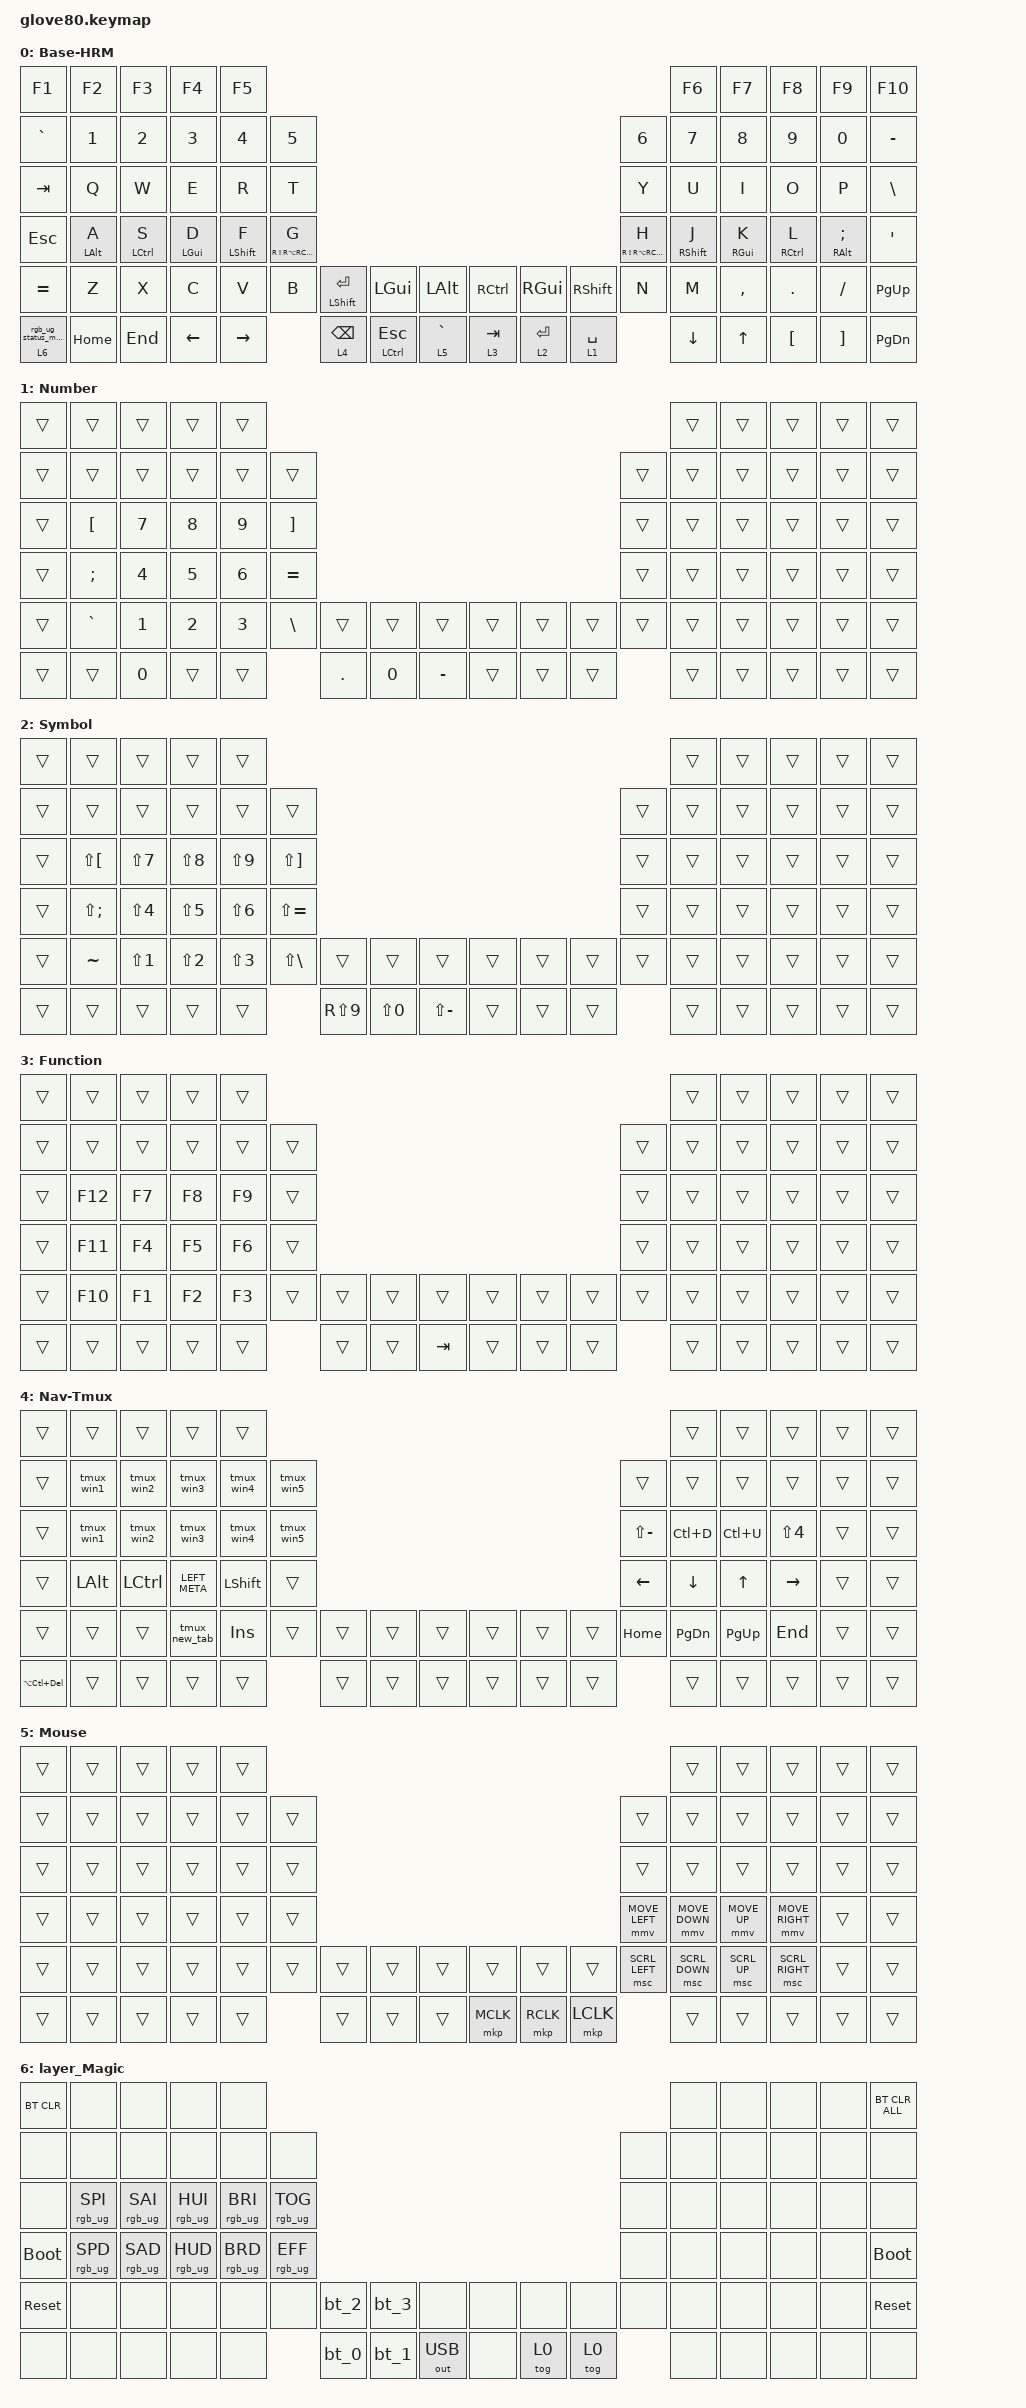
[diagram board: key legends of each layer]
/*
 * Copyright (c) 2020 The ZMK Contributors
 * Copyright (c) 2025 Innaworks Development Limited, trading as MoErgo
 *
 * SPDX-License-Identifier: MIT
 */
/* THIS FILE WAS GENERATED BY GLOVE80 LAYOUT EDITOR
 *
 * This file was generated automatically. You may or may not want to
 * edit it directly.
 */
/* Include all behavior includes needed */

#include <behaviors.dtsi>
#include <dt-bindings/zmk/bt.h>
#include <dt-bindings/zmk/keys.h>
#include <dt-bindings/zmk/outputs.h>
#include <dt-bindings/zmk/pointing.h>
#include <dt-bindings/zmk/rgb.h>

/* On demand includes */
/* Helper Macros, based on https://github.com/urob/zmk-helpers/ */

#pragma once

#define ZMK_HELPER_STRINGIFY(x) #x

// Preprocessor mechanism to overload macros, cf. https://stackoverflow.com/a/27051616/6114651

#define VARGS_(_10, _9, _8, _7, _6, _5, _4, _3, _2, _1, N, ...) N
#define VARGS(...) VARGS_(__VA_ARGS__, 10, 9, 8, 7, 6, 5, 4, 3, 2, 1, 0)
#define CONCAT_(a, b) a##b
#define CONCAT(a, b) CONCAT_(a, b)

#define ZMK_BEHAVIOR_CORE_tap_dance  \
    compatible = "zmk,behavior-tap-dance"; \
    #binding-cells = <0>

#define ZMK_BEHAVIOR(name, type, ...) \
    name: name { \
        ZMK_BEHAVIOR_CORE_ ## type; \
        __VA_ARGS__ \
    };
#define ZMK_TAP_DANCE(name, ...) \
    ZMK_BEHAVIOR(name, tap_dance, __VA_ARGS__)
#define ZMK_TD_LAYER(name, layer) \
    ZMK_TAP_DANCE(name, \
        tapping-term-ms = <200>; \
        bindings = <&mo layer>, <&to layer>; \
)

/ {
    macros {
        rgb_ug_status_macro: rgb_ug_status_macro {
            label = "RGB_UG_STATUS";
            compatible = "zmk,behavior-macro";
            #binding-cells = <0>;
            bindings = <&rgb_ug RGB_STATUS>;
        };
    };
};

/ {
    #ifdef BT_DISC_CMD

    behaviors {
        bt_0: bt_0 {
            compatible = "zmk,behavior-tap-dance";
            label = "BT_0";
            #binding-cells = <0>;
            tapping-term-ms = <200>;
            bindings = <&bt_select_0>, <&bt BT_DISC 0>;
        };

        bt_1: bt_1 {
            compatible = "zmk,behavior-tap-dance";
            label = "BT_1";
            #binding-cells = <0>;
            tapping-term-ms = <200>;
            bindings = <&bt_select_1>, <&bt BT_DISC 1>;
        };

        bt_2: bt_2 {
            compatible = "zmk,behavior-tap-dance";
            label = "BT_2";
            #binding-cells = <0>;
            tapping-term-ms = <200>;
            bindings = <&bt_select_2>, <&bt BT_DISC 2>;
        };

        bt_3: bt_3 {
            compatible = "zmk,behavior-tap-dance";
            label = "BT_3";
            #binding-cells = <0>;
            tapping-term-ms = <200>;
            bindings = <&bt_select_3>, <&bt BT_DISC 3>;
        };
    };

    macros {
        bt_select_0: bt_select_0 {
            label = "BT_SELECT_0";
            compatible = "zmk,behavior-macro";
            #binding-cells = <0>;
            bindings = <&out OUT_BLE &bt BT_SEL 0>;
        };

        bt_select_1: bt_select_1 {
            label = "BT_SELECT_1";
            compatible = "zmk,behavior-macro";
            #binding-cells = <0>;
            bindings = <&out OUT_BLE &bt BT_SEL 1>;
        };

        bt_select_2: bt_select_2 {
            label = "BT_SELECT_2";
            compatible = "zmk,behavior-macro";
            #binding-cells = <0>;
            bindings = <&out OUT_BLE &bt BT_SEL 2>;
        };

        bt_select_3: bt_select_3 {
            label = "BT_SELECT_3";
            compatible = "zmk,behavior-macro";
            #binding-cells = <0>;
            bindings = <&out OUT_BLE &bt BT_SEL 3>;
        };
    };

    #else

    macros {
        bt_0: bt_0 {
            label = "BT_0";
            compatible = "zmk,behavior-macro";
            #binding-cells = <0>;
            bindings = <&out OUT_BLE &bt BT_SEL 0>;
        };

        bt_1: bt_1 {
            label = "BT_1";
            compatible = "zmk,behavior-macro";
            #binding-cells = <0>;
            bindings = <&out OUT_BLE &bt BT_SEL 1>;
        };

        bt_2: bt_2 {
            label = "BT_2";
            compatible = "zmk,behavior-macro";
            #binding-cells = <0>;
            bindings = <&out OUT_BLE &bt BT_SEL 2>;
        };

        bt_3: bt_3 {
            label = "BT_3";
            compatible = "zmk,behavior-macro";
            #binding-cells = <0>;
            bindings = <&out OUT_BLE &bt BT_SEL 3>;
        };
    };

    #endif
};

/ {
    behaviors {
        magic: magic {
            compatible = "zmk,behavior-hold-tap";
            label = "MAGIC_HOLD_TAP";
            #binding-cells = <2>;
            flavor = "tap-preferred";
            tapping-term-ms = <200>;
            bindings = <&mo>, <&rgb_ug_status_macro>;
        };
    };
};

/* #define for key positions */

#define POS_LH_T1 52
#define POS_LH_T2 53
#define POS_LH_T3 54
#define POS_LH_T4 69
#define POS_LH_T5 70
#define POS_LH_T6 71
#define POS_LH_C1R2 15
#define POS_LH_C1R3 27
#define POS_LH_C1R4 39
#define POS_LH_C1R5 51
#define POS_LH_C2R1 4
#define POS_LH_C2R2 14
#define POS_LH_C2R3 26
#define POS_LH_C2R4 38
#define POS_LH_C2R5 50
#define POS_LH_C2R6 68
#define POS_LH_C3R1 3
#define POS_LH_C3R2 13
#define POS_LH_C3R3 25
#define POS_LH_C3R4 37
#define POS_LH_C3R5 49
#define POS_LH_C3R6 67
#define POS_LH_C4R1 2
#define POS_LH_C4R2 12
#define POS_LH_C4R3 24
#define POS_LH_C4R4 36
#define POS_LH_C4R5 48
#define POS_LH_C4R6 66
#define POS_LH_C5R1 1
#define POS_LH_C5R2 11
#define POS_LH_C5R3 23
#define POS_LH_C5R4 35
#define POS_LH_C5R5 47
#define POS_LH_C5R6 65
#define POS_LH_C6R1 0
#define POS_LH_C6R2 10
#define POS_LH_C6R3 22
#define POS_LH_C6R4 34
#define POS_LH_C6R5 46
#define POS_LH_C6R6 64
#define POS_RH_T1 57
#define POS_RH_T2 56
#define POS_RH_T3 55
#define POS_RH_T4 74
#define POS_RH_T5 73
#define POS_RH_T6 72
#define POS_RH_C1R2 16
#define POS_RH_C1R3 28
#define POS_RH_C1R4 40
#define POS_RH_C1R5 58
#define POS_RH_C2R1 5
#define POS_RH_C2R2 17
#define POS_RH_C2R3 29
#define POS_RH_C2R4 41
#define POS_RH_C2R5 59
#define POS_RH_C2R6 75
#define POS_RH_C3R1 6
#define POS_RH_C3R2 18
#define POS_RH_C3R3 30
#define POS_RH_C3R4 42
#define POS_RH_C3R5 60
#define POS_RH_C3R6 76
#define POS_RH_C4R1 7
#define POS_RH_C4R2 19
#define POS_RH_C4R3 31
#define POS_RH_C4R4 43
#define POS_RH_C4R5 61
#define POS_RH_C4R6 77
#define POS_RH_C5R1 8
#define POS_RH_C5R2 20
#define POS_RH_C5R3 32
#define POS_RH_C5R4 44
#define POS_RH_C5R5 62
#define POS_RH_C5R6 78
#define POS_RH_C6R1 9
#define POS_RH_C6R2 21
#define POS_RH_C6R3 33
#define POS_RH_C6R4 45
#define POS_RH_C6R5 63
#define POS_RH_C6R6 79

/* Custom Defined Behaviors */

/ {
};

/* Automatically generated macro definitions */

/ {
    macros {
        tmux_prefix: tmux_prefix {
            label = "TMUX_PREFIX";
            compatible = "zmk,behavior-macro";
            #binding-cells = <0>;
            bindings = <&kp LC(A)>;
        };

        tmux_win1: tmux_win1 {
            label = "TMUX_WIN1";
            compatible = "zmk,behavior-macro";
            #binding-cells = <0>;
            bindings = <&tmux_prefix &kp N1>;
        };

        tmux_win2: tmux_win2 {
            label = "TMUX_WIN2";
            compatible = "zmk,behavior-macro";
            #binding-cells = <0>;
            bindings = <&tmux_prefix &kp N2>;
        };

        tmux_win3: tmux_win3 {
            label = "TMUX_WIN3";
            compatible = "zmk,behavior-macro";
            #binding-cells = <0>;
            bindings = <&tmux_prefix &kp N3>;
        };

        tmux_win4: tmux_win4 {
            label = "TMUX_WIN4";
            compatible = "zmk,behavior-macro";
            #binding-cells = <0>;
            bindings = <&tmux_prefix &kp N4>;
        };

        tmux_win5: tmux_win5 {
            label = "TMUX_WIN5";
            compatible = "zmk,behavior-macro";
            #binding-cells = <0>;
            bindings = <&tmux_prefix &kp N5>;
        };

        tmux_new_tab: tmux_new_tab {
            label = "TMUX_NEW_TAB";
            compatible = "zmk,behavior-macro";
            #binding-cells = <0>;
            bindings = <&tmux_prefix &kp C>;
        };

        tmux_sessions: tmux_sessions {
            label = "TMUX_SESSIONS";
            compatible = "zmk,behavior-macro";
            #binding-cells = <0>;
            bindings = <&tmux_prefix &kp S>;
        };

        tmux_detach: tmux_detach {
            label = "TMUX_DETACH";
            compatible = "zmk,behavior-macro";
            #binding-cells = <0>;
            bindings = <&tmux_prefix &kp D>;
        };

        tmux_rename: tmux_rename {
            label = "TMUX_RENAME";
            compatible = "zmk,behavior-macro";
            #binding-cells = <0>;
            bindings = <&tmux_prefix &kp LS(N4)>;
        };

        tmux_prev_session: tmux_prev_session {
            label = "TMUX_PREV_SESSION";
            compatible = "zmk,behavior-macro";
            #binding-cells = <0>;
            bindings = <&tmux_prefix &kp LS(N9)>;
        };

        tmux_next_session: tmux_next_session {
            label = "TMUX_NEXT_SESSION";
            compatible = "zmk,behavior-macro";
            #binding-cells = <0>;
            bindings = <&tmux_prefix &kp LS(N0)>;
        };
    };
};

/* Automatically generated behavior definitions */

/ {
    behaviors {
        mt_default: mt_default {
            compatible = "zmk,behavior-hold-tap";
            #binding-cells = <2>;
            tapping-term-ms = <200>;
            bindings = <&kp>, <&kp>;

            flavor = "balanced";
            quick-tap-ms = <150>;
            hold-trigger-key-positions = <>;
        };

        lt_qt: lt_qt {
            compatible = "zmk,behavior-hold-tap";
            #binding-cells = <2>;
            tapping-term-ms = <200>;
            bindings = <&mo>, <&kp>;

            flavor = "balanced";
            quick-tap-ms = <150>;
            hold-trigger-key-positions = <>;
            label = "LT_QT";
        };

        mt_slow: mt_slow {
            compatible = "zmk,behavior-hold-tap";
            #binding-cells = <2>;
            tapping-term-ms = <250>;
            bindings = <&kp>, <&kp>;

            flavor = "balanced";
            quick-tap-ms = <180>;
            hold-trigger-key-positions = <>;
            label = "MT_SLOW";
        };
    };
};

/* Automatically generated combos definitions */
/* Automatically generated keymap */

/ {
    keymap {
        compatible = "zmk,keymap";

        Base-HRM {
            bindings = <
&kp F1      &kp F2           &kp F3            &kp F4              &kp F5                                                                                                                                                                                        &kp F6               &kp F7              &kp F8            &kp F9              &kp F10
&kp GRAVE   &kp N1           &kp N2            &kp N3              &kp N4               &kp N5                                                                                                                               &kp N6                              &kp N7               &kp N8              &kp N9            &kp N0              &kp MINUS
&kp TAB     &kp Q            &kp W             &kp E               &kp R                &kp T                                                                                                                                &kp Y                               &kp U                &kp I               &kp O             &kp P               &kp BSLH
&kp ESC     &mt_slow LALT A  &mt_slow LCTRL S  &mt_default LGUI D  &mt_default LSHFT F  &mt_default RS(RA(RC(RG(LGUI)))) G                                                                                                   &mt_default RS(RA(RC(RG(RGUI)))) H  &mt_default RSHFT J  &mt_default RGUI K  &mt_slow RCTRL L  &mt_slow RALT SEMI  &kp SQT
&kp EQUAL   &kp Z            &kp X             &kp C               &kp V                &kp B                               &mt LSHFT RET       &kp LGUI       &kp LALT        &kp RCTRL     &kp RGUI        &kp RSHFT       &kp N                               &kp M                &kp COMMA           &kp DOT           &kp FSLH            &kp PG_UP
&magic 6 0  &kp HOME         &kp END           &kp LEFT            &kp RIGHT                                                &lt_qt 4 BACKSPACE  &mt LCTRL ESC  &lt_qt 5 GRAVE  &lt_qt 3 TAB  &lt_qt 2 ENTER  &lt_qt 1 SPACE                                      &kp DOWN             &kp UP              &kp LBKT          &kp RBKT            &kp PG_DN
            >;
        };

        Number {
            bindings = <
&trans  &trans     &trans  &trans  &trans                                                                         &trans  &trans  &trans  &trans  &trans
&trans  &trans     &trans  &trans  &trans  &trans                                                         &trans  &trans  &trans  &trans  &trans  &trans
&trans  &kp LBKT   &kp N7  &kp N8  &kp N9  &kp RBKT                                                       &trans  &trans  &trans  &trans  &trans  &trans
&trans  &kp SEMI   &kp N4  &kp N5  &kp N6  &kp EQUAL                                                      &trans  &trans  &trans  &trans  &trans  &trans
&trans  &kp GRAVE  &kp N1  &kp N2  &kp N3  &kp BSLH   &trans   &trans  &trans     &trans  &trans  &trans  &trans  &trans  &trans  &trans  &trans  &trans
&trans  &trans     &kp N0  &trans  &trans             &kp DOT  &kp N0  &kp MINUS  &trans  &trans  &trans          &trans  &trans  &trans  &trans  &trans
            >;
        };

        Symbol {
            bindings = <
&trans  &trans        &trans      &trans      &trans                                                                                            &trans  &trans  &trans  &trans  &trans
&trans  &trans        &trans      &trans      &trans      &trans                                                                        &trans  &trans  &trans  &trans  &trans  &trans
&trans  &kp LS(LBKT)  &kp LS(N7)  &kp LS(N8)  &kp LS(N9)  &kp LS(RBKT)                                                                  &trans  &trans  &trans  &trans  &trans  &trans
&trans  &kp LS(SEMI)  &kp LS(N4)  &kp LS(N5)  &kp LS(N6)  &kp LS(EQUAL)                                                                 &trans  &trans  &trans  &trans  &trans  &trans
&trans  &kp TILDE     &kp LS(N1)  &kp LS(N2)  &kp LS(N3)  &kp LS(BSLH)   &trans      &trans      &trans         &trans  &trans  &trans  &trans  &trans  &trans  &trans  &trans  &trans
&trans  &trans        &trans      &trans      &trans                     &kp RS(N9)  &kp LS(N0)  &kp LS(MINUS)  &trans  &trans  &trans          &trans  &trans  &trans  &trans  &trans
            >;
        };

        Function {
            bindings = <
&trans  &trans   &trans  &trans  &trans                                                                   &trans  &trans  &trans  &trans  &trans
&trans  &trans   &trans  &trans  &trans  &trans                                                   &trans  &trans  &trans  &trans  &trans  &trans
&trans  &kp F12  &kp F7  &kp F8  &kp F9  &trans                                                   &trans  &trans  &trans  &trans  &trans  &trans
&trans  &kp F11  &kp F4  &kp F5  &kp F6  &trans                                                   &trans  &trans  &trans  &trans  &trans  &trans
&trans  &kp F10  &kp F1  &kp F2  &kp F3  &trans  &trans  &trans  &trans   &trans  &trans  &trans  &trans  &trans  &trans  &trans  &trans  &trans
&trans  &trans   &trans  &trans  &trans          &trans  &trans  &kp TAB  &trans  &trans  &trans          &trans  &trans  &trans  &trans  &trans
            >;
        };

        Nav-Tmux {
            bindings = <
&trans              &trans        &trans            &trans         &trans                                                                                     &trans     &trans     &trans      &trans  &trans
&trans              &tmux_win1    &tmux_win2        &tmux_win3     &tmux_win4      &tmux_win5                                                  &trans         &trans     &trans     &trans      &trans  &trans
&trans              &tmux_win1    &tmux_win2        &tmux_win3     &tmux_win4      &tmux_win5                                                  &kp LS(MINUS)  &kp LC(D)  &kp LC(U)  &kp LS(N4)  &trans  &trans
&trans              &kp LEFT_ALT  &kp LEFT_CONTROL  &kp LEFT_META  &kp LEFT_SHIFT  &trans                                                      &kp LEFT       &kp DOWN   &kp UP     &kp RIGHT   &trans  &trans
&trans              &trans        &trans            &tmux_new_tab  &kp INSERT      &trans      &trans  &trans  &trans  &trans  &trans  &trans  &kp HOME       &kp PG_DN  &kp PG_UP  &kp END     &trans  &trans
&kp LA(LC(DELETE))  &trans        &trans            &trans         &trans                      &trans  &trans  &trans  &trans  &trans  &trans                 &trans     &trans     &trans      &trans  &trans
            >;
        };

        Mouse {
            bindings = <
&trans  &trans  &trans  &trans  &trans                                                                                   &trans          &trans        &trans           &trans  &trans
&trans  &trans  &trans  &trans  &trans  &trans                                                           &trans          &trans          &trans        &trans           &trans  &trans
&trans  &trans  &trans  &trans  &trans  &trans                                                           &trans          &trans          &trans        &trans           &trans  &trans
&trans  &trans  &trans  &trans  &trans  &trans                                                           &mmv MOVE_LEFT  &mmv MOVE_DOWN  &mmv MOVE_UP  &mmv MOVE_RIGHT  &trans  &trans
&trans  &trans  &trans  &trans  &trans  &trans  &trans  &trans  &trans  &trans     &trans     &trans     &msc SCRL_LEFT  &msc SCRL_DOWN  &msc SCRL_UP  &msc SCRL_RIGHT  &trans  &trans
&trans  &trans  &trans  &trans  &trans          &trans  &trans  &trans  &mkp MCLK  &mkp RCLK  &mkp LCLK                  &trans          &trans        &trans           &trans  &trans
            >;
        };

        layer_Magic {
            bindings = <
&bt BT_CLR   &none            &none            &none            &none                                                                                       &none  &none  &none  &none  &bt BT_CLR_ALL
&none        &none            &none            &none            &none            &none                                                               &none  &none  &none  &none  &none  &none
&none        &rgb_ug RGB_SPI  &rgb_ug RGB_SAI  &rgb_ug RGB_HUI  &rgb_ug RGB_BRI  &rgb_ug RGB_TOG                                                     &none  &none  &none  &none  &none  &none
&bootloader  &rgb_ug RGB_SPD  &rgb_ug RGB_SAD  &rgb_ug RGB_HUD  &rgb_ug RGB_BRD  &rgb_ug RGB_EFF                                                     &none  &none  &none  &none  &none  &bootloader
&sys_reset   &none            &none            &none            &none            &none            &bt_2  &bt_3  &none         &none  &none   &none   &none  &none  &none  &none  &none  &sys_reset
&none        &none            &none            &none            &none                             &bt_0  &bt_1  &out OUT_USB  &none  &tog 0  &tog 0         &none  &none  &none  &none  &none
            >;
        };
    };
};
